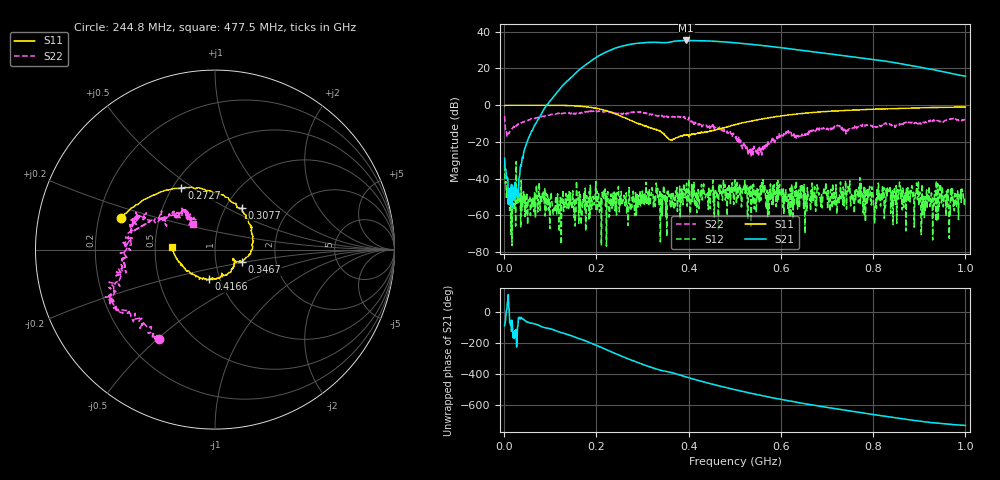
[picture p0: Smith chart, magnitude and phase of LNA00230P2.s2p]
! Created with skrf 1.9.0 (http://scikit-rf.org).
# Hz S RI R 50.0
!freq ReS11 ImS11 ReS21 ImS21 ReS12 ImS12 ReS22 ImS22
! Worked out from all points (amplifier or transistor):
!   1001 points, 1 MHz to 1 GHz, reference 50 ohm
!   highest |S21| = 35.2 dB at 394.6 MHz (marker M1)
!   |S21| within 3 dB of that: 257.2 MHz to 568.6 MHz (311.4 MHz wide, 75.4 % of centre)
!   unconditionally stable (mu >= 1): start of sweep to 87.72 MHz; 224.9 MHz to 307.5 MHz; 307.8 MHz to end of sweep (the widest 3 of 23)
!   at 166.8 MHz: K = 6.97, MAG = 31.1 dB, |S12| = -65.0 dB
!   at 500.5 MHz: K = 1.22, MAG = 34.5 dB, |S12| = -40.6 dB
!   at 1 GHz: K = 5.01, MAG = 23.5 dB, |S12| = -51.2 dB
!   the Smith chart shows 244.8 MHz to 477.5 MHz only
!   S11 on the Smith chart (normalised r, x): 244.8 MHz: 0.29, +0.15; 272.7 MHz: 0.55, +0.45; 307.7 MHz: 1.18, +0.60; 346.7 MHz: 1.34, -0.19; 416.6 MHz: 0.89, -0.30; 477.5 MHz: 0.61, +0.02
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1000000  0.9696 -0.00149  0.000555 -0.0359  -0.0114 0.0202  0.3617 0.3427
1.08892e8  0.5089 -0.85  -0.8477 -1.6  0.00044 -0.00146  0.4387 -0.3612
1.67833e8  -0.2518 -0.8901  -10.31 -0.4638  0.000922 0.000406  0.0548 -0.6253
2.09791e8  -0.6717 -0.3678  -15.88 17.6  0.00193 -0.00224  -0.1701 -0.6541
2.44756e8  -0.5253 0.1733  1.891 36.88  -0.00268 -0.0032  -0.3147 -0.4997
2.72728e8  -0.1874 0.3427  26.91 36.16  0.00157 -0.0013  -0.5545 -0.3316
3.07693e8  0.1487 0.2337  49.08 12.73  -0.00681 0.00421  -0.5903 -0.1815
3.34666e8  0.2081 0.00122  49.76 -10.89  -0.0025 0.00268  -0.5008 -0.0463
3.46654e8  0.151 -0.0679  46.64 -17.91  -0.000522 0.00539  -0.4709 -0.00474
3.7063e8  0.1064 -0.0609  43.92 -33.48  0.000212 0.00176  -0.4521 0.164
3.94606e8  0.0679 -0.1403  29.3 -49.57  0.00174 0.00555  -0.4022 0.1863
4.16584e8  -0.0323 -0.1635  11.67 -56.08  0.0038 0.00239  -0.2751 0.1718
4.45555e8  -0.1578 -0.1201  -10.74 -54.39  -0.00201 0.00502  -0.1473 0.1807
4.77523e8  -0.2417 0.0172  -30.13 -43.09  0.00316 0.00275  -0.1231 0.1443
5.005e8  -0.2516 0.1442  -39.06 -31.17  0.006 -0.00708  -0.1127 0.0878
5.4046e8  -0.1777 0.334  -43.4 -9.484  0.00661 -0.00235  -0.0302 0.052
5.88412e8  0.0217 0.4846  -36.44 11.24  0.00387 -0.00212  -0.0986 -0.0749
6.67333e8  0.3973 0.488  -14.44 24.42  0.0054 -0.00534  -0.1904 -0.0413
7.53247e8  0.6739 0.2724  3.465 20.48  -0.00232 -0.00294  -0.2271 0.0229
8.34166e8  0.793 0.00784  10.9 10.58  -0.00372 -0.00312  -0.3003 -0.00658
9.16084e8  0.8089 -0.2719  9.778 1.789  -0.00492 -0.000326  -0.3325 0.127
1e9  0.7194 -0.5297  5.999 -1.233  -0.0026 -0.00094  -0.3103 0.2387
